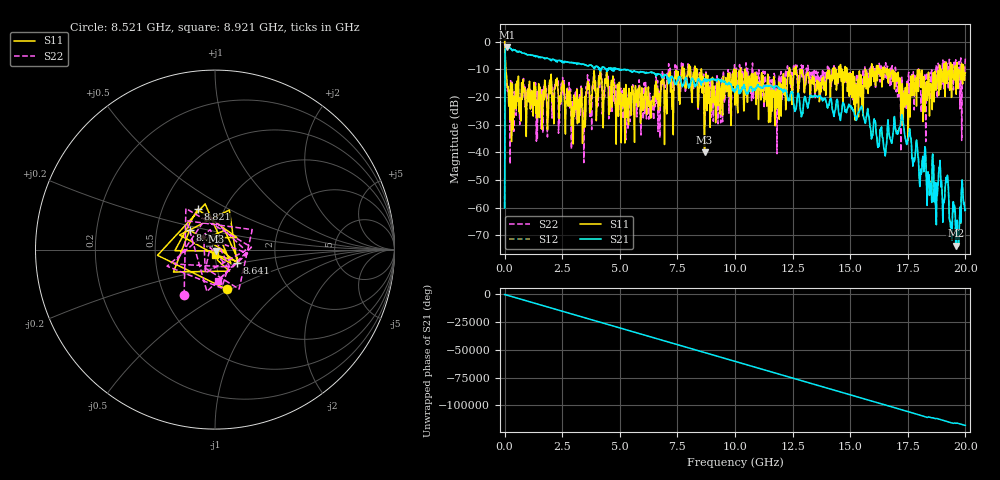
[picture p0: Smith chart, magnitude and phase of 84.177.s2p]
! Created with skrf 1.9.0 (http://scikit-rf.org).
# Hz S RI R 50.0
!freq ReS11 ImS11 ReS21 ImS21 ReS12 ImS12 ReS22 ImS22
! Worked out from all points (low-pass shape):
!   1001 points, 1 MHz to 20 GHz, reference 50 ohm
!   highest |S21| = -1.94 dB at 121 MHz (marker M1); lowest = -73.7 dB at 19.58 GHz (marker M2)
!   |S21| within 3 dB of the highest: 20.83 MHz to 1.173 GHz (1.152 GHz wide, 193 % of centre); 1.189 GHz to 1.211 GHz (21.88 MHz wide, 1.82 % of centre)
!   lowest |S11| = -40.0 dB at 8.681 GHz (marker M3), VSWR 1.02, Z = 50.5 - j0.842 ohm
!   |S11| at or under -10 dB: 56.99 MHz to 7.706 GHz (7.649 GHz wide, 197 % of centre); 10.44 GHz to 12.36 GHz (1.915 GHz wide, 16.8 % of centre); 16.61 GHz to 18.87 GHz (2.259 GHz wide, 12.7 % of centre) (the widest 3 of 39)
!   |S22| runs from -44.3 to -0.2 dB; largest |S21 - S12| = 0.02
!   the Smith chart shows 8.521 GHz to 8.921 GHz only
!   S11 on the Smith chart (normalised r, x): 8.521 GHz: 1.02, -0.48; 8.641 GHz: 1.26, -0.19; 8.761 GHz: 0.74, +0.17; 8.821 GHz: 0.75, +0.36; 8.921 GHz: 1.00, -0.06
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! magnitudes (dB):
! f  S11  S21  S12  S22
! 1 MHz  0.4  -60.1  -60.0  -0.2
! 121 MHz  -16.6  -1.9  -1.9  -17.9
! 301 MHz  -36.1  -2.6  -2.6  -34.2
! 2.221 GHz  -13.8  -7.2  -7.2  -15.4
! 3.341 GHz  -16.8  -8.3  -8.2  -19.8
! 4.141 GHz  -11.5  -10.2  -10.0  -12.3
! 5.261 GHz  -15.5  -10.2  -10.2  -35.5
! 6.681 GHz  -24.7  -11.7  -11.7  -24.6
! 8.521 GHz  -12.8  -15.3  -15.4  -10.3
! 8.641 GHz  -16.9  -14.3  -14.4  -11.8
! 8.681 GHz  -40.0  -13.4  -13.4  -30.7
! 8.761 GHz  -15.0  -13.6  -13.4  -18.8
! 8.821 GHz  -12.2  -14.0  -13.8  -14.1
! 8.921 GHz  -31.0  -14.0  -14.1  -15.2
! 10 GHz  -23.0  -17.4  -17.9  -9.2
! 11.82 GHz  -19.8  -16.1  -16.1  -40.5
! 13.34 GHz  -15.1  -19.9  -19.6  -14.4
! 16.68 GHz  -10.1  -32.8  -33.0  -9.6
! 17.24 GHz  -16.9  -26.4  -26.4  -12.9
! 19.18 GHz  -9.0  -50.5  -50.8  -12.4
! 19.58 GHz  -11.8  -73.7  -73.8  -6.6
! 20 GHz  -11.3  -60.9  -60.2  -6.2
